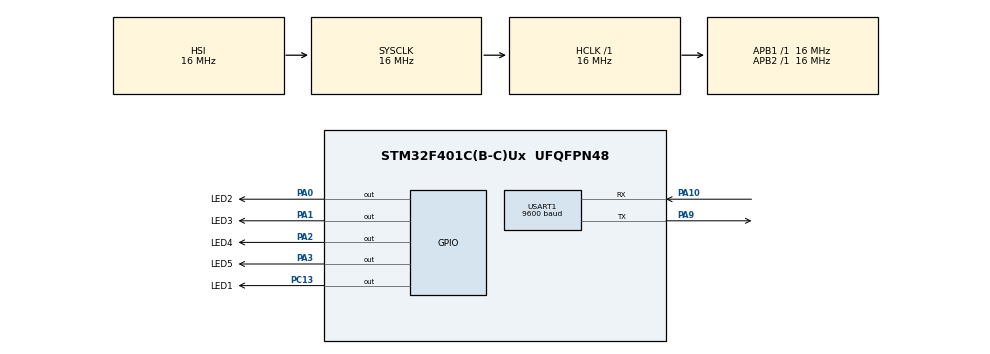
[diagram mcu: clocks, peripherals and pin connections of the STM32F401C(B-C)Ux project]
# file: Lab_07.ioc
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Mcu.Family=STM32F4
Mcu.Name=STM32F401C(B-C)Ux
Mcu.Package=UFQFPN48
NVIC.PriorityGroup=NVIC_PRIORITYGROUP_4
NVIC.USART1_IRQn=true\:0\:0\:false\:false\:true\:true\:true\:true
PA0-WKUP.GPIO_Label=LED2
PA0-WKUP.Signal=GPIO_Output
PA1.GPIO_Label=LED3
PA1.Signal=GPIO_Output
PA10.Mode=Asynchronous
PA10.Signal=USART1_RX
PA2.GPIO_Label=LED4
PA2.Signal=GPIO_Output
PA3.GPIO_Label=LED5
PA3.Signal=GPIO_Output
PA9.Mode=Asynchronous
PA9.Signal=USART1_TX
PC13-ANTI_TAMP.GPIO_Label=LED1
PC13-ANTI_TAMP.Signal=GPIO_Output
ProjectManager.HeapSize=0x200
ProjectManager.StackSize=0x400
ProjectManager.TargetToolchain=STM32CubeIDE
RCC.AHBFreq_Value=16000000
RCC.APB1Freq_Value=16000000
RCC.APB2Freq_Value=16000000
RCC.CortexFreq_Value=16000000
RCC.HSE_VALUE=25000000
RCC.HSI_VALUE=16000000
RCC.LSE_VALUE=32768
RCC.SYSCLKFreq_VALUE=16000000
RCC.VCOOutputFreq_Value=192000000
USART1.BaudRate=9600
USART1.VirtualMode=VM_ASYNC
board=custom

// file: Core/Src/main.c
/* USER CODE BEGIN Header */
/**
  ******************************************************************************
  * @file           : main.c
  * @brief          : Main program body
  ******************************************************************************
  * @attention
  *
  * Copyright (c) 2022 STMicroelectronics.
  * All rights reserved.
  *
  * This software is licensed under terms that can be found in the LICENSE file
  * in the root directory of this software component.
  * If no LICENSE file comes with this software, it is provided AS-IS.
  *
  ******************************************************************************
  */
/* USER CODE END Header */
#include "main.h"
#include "usart.h"
#include "gpio.h"

/* USER CODE BEGIN Includes */
#include <stdbool.h>
/* USER CODE END Includes */

/* USER CODE BEGIN PV */
 uint8_t str[1];
 bool RxCompleted = false;
 bool TxCompleted = true;

/* USER CODE END PV */

void SystemClock_Config(void);

int main(void)
{

  /* MCU Configuration--------------------------------------------------------*/

  /* Reset of all peripherals, Initializes the Flash interface and the Systick. */
  HAL_Init();

  /* Configure the system clock */
  SystemClock_Config();

  /* Initialize all configured peripherals */
  MX_GPIO_Init();
  MX_USART1_UART_Init();
  /* USER CODE BEGIN 2 */
HAL_UART_Receive_IT(&huart1, str, 1);
  /* USER CODE END 2 */

  /* Infinite loop */
  /* USER CODE BEGIN WHILE */

  while (1)
  {
	  if(str[0] == '0') HAL_GPIO_WritePin(LED1_GPIO_Port, LED1_Pin, GPIO_PIN_SET);
	  if(str[0] == '1') HAL_GPIO_WritePin(LED1_GPIO_Port, LED1_Pin, GPIO_PIN_RESET);
	  if(str[0] == '2') HAL_GPIO_WritePin(LED2_GPIO_Port, LED2_Pin, GPIO_PIN_SET);
	  if(str[0] == '3') HAL_GPIO_WritePin(LED2_GPIO_Port, LED2_Pin, GPIO_PIN_RESET);
	  if(str[0] == '4') HAL_GPIO_WritePin(LED3_GPIO_Port, LED3_Pin, GPIO_PIN_SET);
	  if(str[0] == '5') HAL_GPIO_WritePin(LED3_GPIO_Port, LED3_Pin, GPIO_PIN_RESET);
	  if(str[0] == '6') HAL_GPIO_WritePin(LED4_GPIO_Port, LED4_Pin, GPIO_PIN_SET);
	  if(str[0] == '7') HAL_GPIO_WritePin(LED4_GPIO_Port, LED4_Pin, GPIO_PIN_RESET);
	  if( str[0] == 'a')
	  {

		  HAL_GPIO_TogglePin(LED5_GPIO_Port, LED5_Pin);
		  str[0]=' ';
	  }

    /* USER CODE END WHILE */

  }
}

void SystemClock_Config(void)
{
  RCC_OscInitTypeDef RCC_OscInitStruct = {0};
  RCC_ClkInitTypeDef RCC_ClkInitStruct = {0};

  /** Configure the main internal regulator output voltage
  */
  __HAL_RCC_PWR_CLK_ENABLE();
  __HAL_PWR_VOLTAGESCALING_CONFIG(PWR_REGULATOR_VOLTAGE_SCALE2);

  /** Initializes the RCC Oscillators according to the specified parameters
  * in the RCC_OscInitTypeDef structure.
  */
  RCC_OscInitStruct.OscillatorType = RCC_OSCILLATORTYPE_HSI;
  RCC_OscInitStruct.HSIState = RCC_HSI_ON;
  RCC_OscInitStruct.HSICalibrationValue = RCC_HSICALIBRATION_DEFAULT;
  RCC_OscInitStruct.PLL.PLLState = RCC_PLL_NONE;
  if (HAL_RCC_OscConfig(&RCC_OscInitStruct) != HAL_OK)
  {
    Error_Handler();
  }

  /** Initializes the CPU, AHB and APB buses clocks
  */
  RCC_ClkInitStruct.ClockType = RCC_CLOCKTYPE_HCLK|RCC_CLOCKTYPE_SYSCLK
                              |RCC_CLOCKTYPE_PCLK1|RCC_CLOCKTYPE_PCLK2;
  RCC_ClkInitStruct.SYSCLKSource = RCC_SYSCLKSOURCE_HSI;
  RCC_ClkInitStruct.AHBCLKDivider = RCC_SYSCLK_DIV1;
  RCC_ClkInitStruct.APB1CLKDivider = RCC_HCLK_DIV1;
  RCC_ClkInitStruct.APB2CLKDivider = RCC_HCLK_DIV1;

  if (HAL_RCC_ClockConfig(&RCC_ClkInitStruct, FLASH_LATENCY_0) != HAL_OK)
  {
    Error_Handler();
  }
}

/* USER CODE BEGIN 4 */
void HAL_UART_RxCpltCallback(UART_HandleTypeDef *huart)
{
	if(huart == &huart1)
	{
		RxCompleted = true;
		if(TxCompleted == true)
		{
			TxCompleted = false;
			HAL_UART_Transmit_IT(&huart1, str, 1);
		}
	}
}
void HAL_UART_TxCpltCallback(UART_HandleTypeDef *huart)
{
	if(huart == &huart1)
	{
		TxCompleted = true;
		if(RxCompleted == true)
		{
			RxCompleted = false;
			HAL_UART_Receive_IT(&huart1, str, 1);

		}
	}
}
/* USER CODE END 4 */

void Error_Handler(void)
{
  __disable_irq();
  while (1)
  {
  }
}
